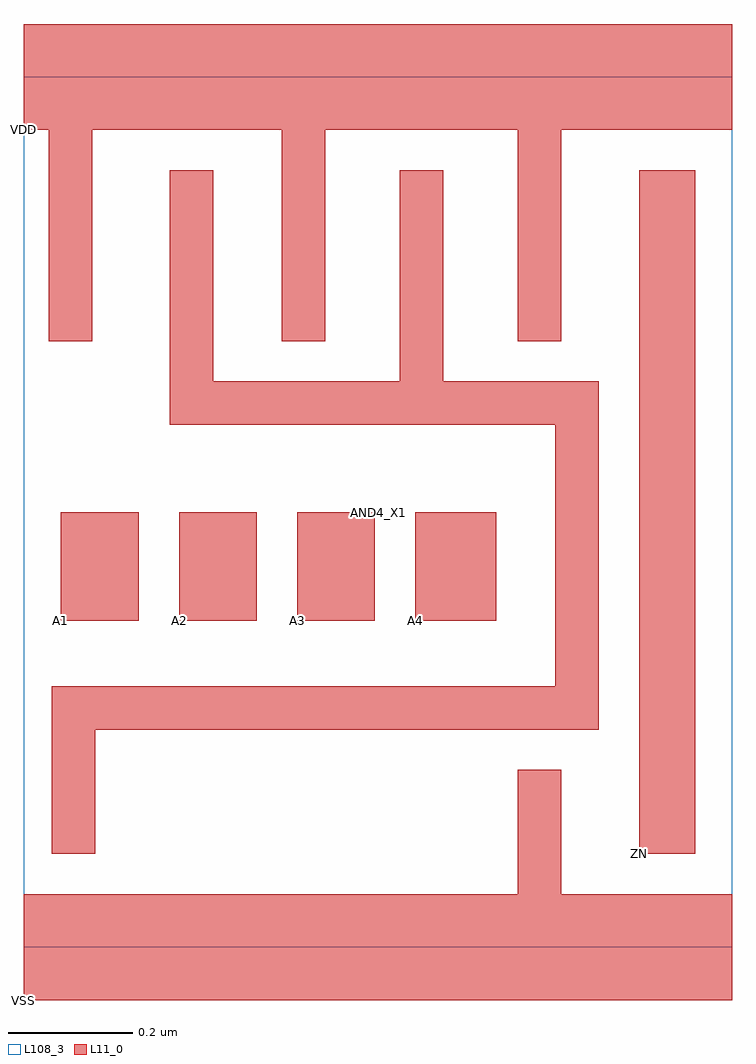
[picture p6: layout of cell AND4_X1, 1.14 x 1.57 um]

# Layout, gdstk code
import gdstk
lib = gdstk.Library(unit=1e-6, precision=1e-09)
def R(c, l, rs):  # rectangles x0, y0, x1, y1
    for r in rs: c.add(gdstk.rectangle(r[:2], r[2:], *l))
def A(c, l, x, y, w, h, nx, ny, dx, dy):  # array of equal rectangles
    R(c, l, [(x+i*dx, y+j*dy, x+i*dx+w, y+j*dy+h) for i in range(nx) for j in range(ny)])
def P(c, l, *ps):  # polygons
    for p in ps: c.add(gdstk.Polygon(p, *l))
L11_0 = (11, 0)
L108_3 = (108, 3)

and4_x1 = lib.new_cell('AND4_X1')
A(and4_x1, L11_0, 0.06, 0.525, 0.125, 0.175, 3, 1, 0.19, 0)
R(and4_x1, L11_0, [(0.99,0.15,1.08,1.25), (0.63,0.525,0.76,0.7)])
P(and4_x1, L11_0, [(0,1.315),(0.04,1.315),(0.04,0.975),(0.11,0.975),(0.11,1.315),(0.415,1.315),(0.415,0.975),(0.485,0.975),(0.485,1.315),(0.795,1.315),(0.795,0.975),(0.865,0.975),(0.865,1.315),(0.925,1.315),(1.14,1.315),(1.14,1.485),(0.925,1.485),(0,1.485)],
  [(0,-0.085),(1.14,-0.085),(1.14,0.085),(0.865,0.085),(0.865,0.285),(0.795,0.285),(0.795,0.085),(0,0.085)],
  [(0.235,0.84),(0.855,0.84),(0.855,0.42),(0.045,0.42),(0.045,0.15),(0.115,0.15),(0.115,0.35),(0.925,0.35),(0.925,0.91),(0.675,0.91),(0.675,1.25),(0.605,1.25),(0.605,0.91),(0.305,0.91),(0.305,1.25),(0.235,1.25)])
R(and4_x1, L108_3, [(0,0,1.14,1.4)])
and4_x1.add(gdstk.Label('AND4_X1', (0.57,0.7), layer=108, texttype=3))
and4_x1.add(gdstk.Label('A1', (0.06,0.525), layer=11, texttype=0))
and4_x1.add(gdstk.Label('A2', (0.25,0.525), layer=11, texttype=0))
and4_x1.add(gdstk.Label('A3', (0.44,0.525), layer=11, texttype=0))
and4_x1.add(gdstk.Label('A4', (0.63,0.525), layer=11, texttype=0))
and4_x1.add(gdstk.Label('ZN', (0.99,0.15), layer=11, texttype=0))
and4_x1.add(gdstk.Label('VDD', (0,1.315), layer=11, texttype=0))
and4_x1.add(gdstk.Label('VSS', (0,-0.085), layer=11, texttype=0))

lib.write_gds('AND4_X1.gds')
